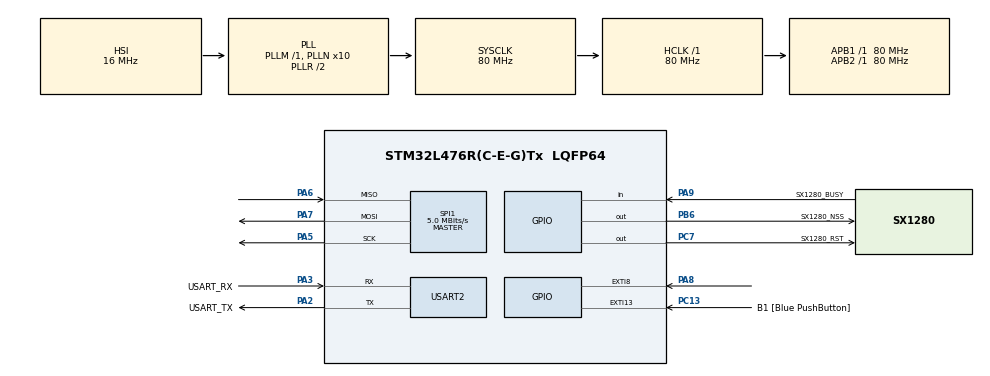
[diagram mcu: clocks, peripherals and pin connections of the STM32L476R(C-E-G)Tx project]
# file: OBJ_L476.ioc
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Mcu.Family=STM32L4
Mcu.Name=STM32L476R(C-E-G)Tx
Mcu.Package=LQFP64
NVIC.PriorityGroup=NVIC_PRIORITYGROUP_4
PA13\ (JTMS-SWDIO).GPIO_Label=TMS
PA13\ (JTMS-SWDIO).Mode=Serial_Wire
PA13\ (JTMS-SWDIO).Signal=SYS_JTMS-SWDIO
PA14\ (JTCK-SWCLK).GPIO_Label=TCK
PA14\ (JTCK-SWCLK).Mode=Serial_Wire
PA14\ (JTCK-SWCLK).Signal=SYS_JTCK-SWCLK
PA2.GPIO_Label=USART_TX
PA2.GPIO_Mode=GPIO_MODE_AF_PP
PA2.GPIO_PuPd=GPIO_NOPULL
PA2.GPIO_Speed=GPIO_SPEED_FREQ_VERY_HIGH
PA2.Mode=Asynchronous
PA2.Signal=USART2_TX
PA3.GPIO_Label=USART_RX
PA3.GPIO_Mode=GPIO_MODE_AF_PP
PA3.GPIO_PuPd=GPIO_NOPULL
PA3.GPIO_Speed=GPIO_SPEED_FREQ_VERY_HIGH
PA3.Mode=Asynchronous
PA3.Signal=USART2_RX
PA5.GPIO_PuPd=GPIO_PULLDOWN
PA5.Mode=Full_Duplex_Master
PA5.Signal=SPI1_SCK
PA6.GPIO_PuPd=GPIO_PULLDOWN
PA6.Mode=Full_Duplex_Master
PA6.Signal=SPI1_MISO
PA7.GPIO_PuPd=GPIO_PULLDOWN
PA7.Mode=Full_Duplex_Master
PA7.Signal=SPI1_MOSI
PA8.GPIO_PuPd=GPIO_PULLDOWN
PA8.Signal=GPXTI8
PA9.GPIO_Label=SX1280_BUSY
PA9.GPIO_PuPd=GPIO_PULLDOWN
PA9.Signal=GPIO_Input
PB3\ (JTDO-TRACESWO).GPIO_Label=SWO
PB3\ (JTDO-TRACESWO).Signal=SYS_JTDO-SWO
PB6.GPIO_Label=SX1280_NSS
PB6.GPIO_Speed=GPIO_SPEED_FREQ_VERY_HIGH
PB6.PinState=GPIO_PIN_SET
PB6.Signal=GPIO_Output
PC13.GPIO_Label=B1 [Blue PushButton]
PC13.GPIO_ModeDefaultEXTI=GPIO_MODE_IT_FALLING
PC13.GPIO_PuPd=GPIO_NOPULL
PC13.Signal=GPXTI13
PC14-OSC32_IN\ (PC14).Mode=LSE-External-Oscillator
PC14-OSC32_IN\ (PC14).Signal=RCC_OSC32_IN
PC15-OSC32_OUT\ (PC15).Mode=LSE-External-Oscillator
PC15-OSC32_OUT\ (PC15).Signal=RCC_OSC32_OUT
PC7.GPIO_Label=SX1280_RST
PC7.PinState=GPIO_PIN_SET
PC7.Signal=GPIO_Output
PH0-OSC_IN\ (PH0).Signal=RCC_OSC_IN
PH1-OSC_OUT\ (PH1).Signal=RCC_OSC_OUT
ProjectManager.HeapSize=0x200
ProjectManager.StackSize=0x400
ProjectManager.TargetToolchain=STM32CubeIDE
RCC.ADCFreq_Value=64000000
RCC.AHBFreq_Value=80000000
RCC.APB1Freq_Value=80000000
RCC.APB1TimFreq_Value=80000000
RCC.APB2Freq_Value=80000000
RCC.APB2TimFreq_Value=80000000
RCC.CortexFreq_Value=80000000
RCC.HCLKFreq_Value=80000000
RCC.HSE_VALUE=8000000
RCC.HSI_VALUE=16000000
RCC.MSI_VALUE=4000000
RCC.PLLN=10
RCC.PLLSourceVirtual=RCC_PLLSOURCE_HSI
RCC.PREFETCH_ENABLE=1
RCC.SYSCLKFreq_VALUE=80000000
RCC.SYSCLKSource=RCC_SYSCLKSOURCE_PLLCLK
RCC.USBFreq_Value=64000000
RCC.VCOOutputFreq_Value=160000000
SPI1.BaudRatePrescaler=SPI_BAUDRATEPRESCALER_16
SPI1.CalculateBaudRate=5.0 MBits/s
SPI1.DataSize=SPI_DATASIZE_8BIT
SPI1.Direction=SPI_DIRECTION_2LINES
SPI1.Mode=SPI_MODE_MASTER
SPI1.VirtualType=VM_MASTER
TIM1.Prescaler=79
USART2.VirtualMode-Asynchronous=VM_ASYNC
VP_TIM1_VS_ClockSourceINT.Mode=Internal
board=NUCLEO-L476RG

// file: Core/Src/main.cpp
/* USER CODE BEGIN Header */
/**
 ******************************************************************************
 * @file           : main.c
 * @brief          : Main program body
 ******************************************************************************
 * @attention
 *
 * Copyright (c) 2023 STMicroelectronics.
 * All rights reserved.
 *
 * This software is licensed under terms that can be found in the LICENSE file
 * in the root directory of this software component.
 * If no LICENSE file comes with this software, it is provided AS-IS.
 *
 ******************************************************************************
 */
/* USER CODE END Header */
#include "main.h"

/* USER CODE BEGIN Includes */
#include "stdio.h"
#include "SX128x_OBJ.h"
/* USER CODE END Includes */

SPI_HandleTypeDef hspi1;

TIM_HandleTypeDef htim1;

UART_HandleTypeDef huart2;

/* USER CODE BEGIN PV */
SX128x_OBJ sx1280;
/* USER CODE END PV */

void SystemClock_Config(void);
static void MX_GPIO_Init(void);
static void MX_USART2_UART_Init(void);
static void MX_SPI1_Init(void);
static void MX_TIM1_Init(void);

int main(void)
{

    /* MCU Configuration--------------------------------------------------------*/

    /* Reset of all peripherals, Initializes the Flash interface and the Systick. */
    HAL_Init();

    /* Configure the system clock */
    SystemClock_Config();

    /* Initialize all configured peripherals */
    MX_GPIO_Init();
    MX_USART2_UART_Init();
    MX_SPI1_Init();
    MX_TIM1_Init();
    /* USER CODE BEGIN 2 */

    // for print
    char uart_buf[100];
    int uart_buf_len;
    // for receive
    uint8_t rx_buffer[8];
    uint8_t rx_length;
    int received;
    // for status
    uint8_t re;

    // print
    uart_buf_len = sprintf(uart_buf, "SX1280 RX bit rate test\r\n");
    HAL_UART_Transmit(&huart2, (uint8_t *)uart_buf, uart_buf_len, 100);

    // initialize and transceive setting
    re = sx1280.Init();
    if (re == 0)
    {
        uart_buf_len = sprintf(uart_buf, "SX1280 Initialize success\r\n");
        HAL_UART_Transmit(&huart2, (uint8_t *)uart_buf, uart_buf_len, 100);
    }
    else
    {
        uart_buf_len = sprintf(uart_buf, "SX1280 Initialize fail\r\n");
        HAL_UART_Transmit(&huart2, (uint8_t *)uart_buf, uart_buf_len, 100);
        while (1)
            ;
    }

    // Rx setting
    sx1280.RxSetting();

    // receive
    rx_length = sx1280.RxBlocking(rx_buffer, 8);

    /* USER CODE END 2 */

    /* Infinite loop */
    /* USER CODE BEGIN WHILE */
    int time_temp = HAL_GetTick();
    uint8_t received_arr[100] = {0};
    int pre_get = 0;
    uint8_t sum;
    float bps;
    while (1)
    {
        // receive
        rx_length = sx1280.RxBlocking(rx_buffer, 8);
        received = rx_buffer[0] + (rx_buffer[1] << 8);

        // print
        uart_buf_len = sprintf(uart_buf, "RX: %d %d\r\n", *(rx_buffer), *(rx_buffer + 1));
        HAL_UART_Transmit(&huart2, (uint8_t *)uart_buf, uart_buf_len, 100);
        /* USER CODE END WHILE */

        /* USER CODE BEGIN 3 */
        if (received < 100 && received >= 0) // valid
        {
            if (pre_get > received)
            {
                time_temp = HAL_GetTick() - time_temp;
                sum = 0;
                for (int i = 0; i < 100; i++)
                {
                    if (received_arr[i] == 1)
                    {
                        sum++;
                    }
                }
                bps = sum * 8 * 8 * 1000. / time_temp;
                uart_buf_len = sprintf(uart_buf, "Bit Rate: %15.5f bps, sum: %03d\r\n", bps, sum);
                HAL_UART_Transmit(&huart2, (uint8_t *)uart_buf, uart_buf_len, 100);

                // end
                for (int i = 0; i < 100; i++)
                {
                    received_arr[i] = 0;
                }
                time_temp = HAL_GetTick();
            }
            pre_get = received;
            received_arr[received] = 1;
        }
    }
    /* USER CODE END 3 */
}

void SystemClock_Config(void)
{
    RCC_OscInitTypeDef RCC_OscInitStruct = {0};
    RCC_ClkInitTypeDef RCC_ClkInitStruct = {0};

    /** Configure the main internal regulator output voltage
     */
    if (HAL_PWREx_ControlVoltageScaling(PWR_REGULATOR_VOLTAGE_SCALE1) != HAL_OK)
    {
        Error_Handler();
    }

    /** Initializes the RCC Oscillators according to the specified parameters
     * in the RCC_OscInitTypeDef structure.
     */
    RCC_OscInitStruct.OscillatorType = RCC_OSCILLATORTYPE_HSI;
    RCC_OscInitStruct.HSIState = RCC_HSI_ON;
    RCC_OscInitStruct.HSICalibrationValue = RCC_HSICALIBRATION_DEFAULT;
    RCC_OscInitStruct.PLL.PLLState = RCC_PLL_ON;
    RCC_OscInitStruct.PLL.PLLSource = RCC_PLLSOURCE_HSI;
    RCC_OscInitStruct.PLL.PLLM = 1;
    RCC_OscInitStruct.PLL.PLLN = 10;
    RCC_OscInitStruct.PLL.PLLP = RCC_PLLP_DIV7;
    RCC_OscInitStruct.PLL.PLLQ = RCC_PLLQ_DIV2;
    RCC_OscInitStruct.PLL.PLLR = RCC_PLLR_DIV2;
    if (HAL_RCC_OscConfig(&RCC_OscInitStruct) != HAL_OK)
    {
        Error_Handler();
    }

    /** Initializes the CPU, AHB and APB buses clocks
     */
    RCC_ClkInitStruct.ClockType = RCC_CLOCKTYPE_HCLK | RCC_CLOCKTYPE_SYSCLK | RCC_CLOCKTYPE_PCLK1 | RCC_CLOCKTYPE_PCLK2;
    RCC_ClkInitStruct.SYSCLKSource = RCC_SYSCLKSOURCE_PLLCLK;
    RCC_ClkInitStruct.AHBCLKDivider = RCC_SYSCLK_DIV1;
    RCC_ClkInitStruct.APB1CLKDivider = RCC_HCLK_DIV1;
    RCC_ClkInitStruct.APB2CLKDivider = RCC_HCLK_DIV1;

    if (HAL_RCC_ClockConfig(&RCC_ClkInitStruct, FLASH_LATENCY_4) != HAL_OK)
    {
        Error_Handler();
    }
}

static void MX_SPI1_Init(void)
{

    /* SPI1 parameter configuration*/
    hspi1.Instance = SPI1;
    hspi1.Init.Mode = SPI_MODE_MASTER;
    hspi1.Init.Direction = SPI_DIRECTION_2LINES;
    hspi1.Init.DataSize = SPI_DATASIZE_8BIT;
    hspi1.Init.CLKPolarity = SPI_POLARITY_LOW;
    hspi1.Init.CLKPhase = SPI_PHASE_1EDGE;
    hspi1.Init.NSS = SPI_NSS_SOFT;
    hspi1.Init.BaudRatePrescaler = SPI_BAUDRATEPRESCALER_16;
    hspi1.Init.FirstBit = SPI_FIRSTBIT_MSB;
    hspi1.Init.TIMode = SPI_TIMODE_DISABLE;
    hspi1.Init.CRCCalculation = SPI_CRCCALCULATION_DISABLE;
    hspi1.Init.CRCPolynomial = 7;
    hspi1.Init.CRCLength = SPI_CRC_LENGTH_DATASIZE;
    hspi1.Init.NSSPMode = SPI_NSS_PULSE_ENABLE;
    if (HAL_SPI_Init(&hspi1) != HAL_OK)
    {
        Error_Handler();
    }
}

static void MX_TIM1_Init(void)
{

    TIM_ClockConfigTypeDef sClockSourceConfig = {0};
    TIM_MasterConfigTypeDef sMasterConfig = {0};

    htim1.Instance = TIM1;
    htim1.Init.Prescaler = 79;
    htim1.Init.CounterMode = TIM_COUNTERMODE_UP;
    htim1.Init.Period = 65535;
    htim1.Init.ClockDivision = TIM_CLOCKDIVISION_DIV1;
    htim1.Init.RepetitionCounter = 0;
    htim1.Init.AutoReloadPreload = TIM_AUTORELOAD_PRELOAD_DISABLE;
    if (HAL_TIM_Base_Init(&htim1) != HAL_OK)
    {
        Error_Handler();
    }
    sClockSourceConfig.ClockSource = TIM_CLOCKSOURCE_INTERNAL;
    if (HAL_TIM_ConfigClockSource(&htim1, &sClockSourceConfig) != HAL_OK)
    {
        Error_Handler();
    }
    sMasterConfig.MasterOutputTrigger = TIM_TRGO_RESET;
    sMasterConfig.MasterOutputTrigger2 = TIM_TRGO2_RESET;
    sMasterConfig.MasterSlaveMode = TIM_MASTERSLAVEMODE_DISABLE;
    if (HAL_TIMEx_MasterConfigSynchronization(&htim1, &sMasterConfig) != HAL_OK)
    {
        Error_Handler();
    }
}

static void MX_USART2_UART_Init(void)
{

    huart2.Instance = USART2;
    huart2.Init.BaudRate = 115200;
    huart2.Init.WordLength = UART_WORDLENGTH_8B;
    huart2.Init.StopBits = UART_STOPBITS_1;
    huart2.Init.Parity = UART_PARITY_NONE;
    huart2.Init.Mode = UART_MODE_TX_RX;
    huart2.Init.HwFlowCtl = UART_HWCONTROL_NONE;
    huart2.Init.OverSampling = UART_OVERSAMPLING_16;
    huart2.Init.OneBitSampling = UART_ONE_BIT_SAMPLE_DISABLE;
    huart2.AdvancedInit.AdvFeatureInit = UART_ADVFEATURE_NO_INIT;
    if (HAL_UART_Init(&huart2) != HAL_OK)
    {
        Error_Handler();
    }
}

static void MX_GPIO_Init(void)
{
    GPIO_InitTypeDef GPIO_InitStruct = {0};

    /* GPIO Ports Clock Enable */
    __HAL_RCC_GPIOC_CLK_ENABLE();
    __HAL_RCC_GPIOH_CLK_ENABLE();
    __HAL_RCC_GPIOA_CLK_ENABLE();
    __HAL_RCC_GPIOB_CLK_ENABLE();

    /*Configure GPIO pin Output Level */
    HAL_GPIO_WritePin(SX1280_RST_GPIO_Port, SX1280_RST_Pin, GPIO_PIN_SET);

    /*Configure GPIO pin Output Level */
    HAL_GPIO_WritePin(SX1280_NSS_GPIO_Port, SX1280_NSS_Pin, GPIO_PIN_SET);

    /*Configure GPIO pin : B1_Pin */
    GPIO_InitStruct.Pin = B1_Pin;
    GPIO_InitStruct.Mode = GPIO_MODE_IT_FALLING;
    GPIO_InitStruct.Pull = GPIO_NOPULL;
    HAL_GPIO_Init(B1_GPIO_Port, &GPIO_InitStruct);

    /*Configure GPIO pin : SX1280_RST_Pin */
    GPIO_InitStruct.Pin = SX1280_RST_Pin;
    GPIO_InitStruct.Mode = GPIO_MODE_OUTPUT_PP;
    GPIO_InitStruct.Pull = GPIO_NOPULL;
    GPIO_InitStruct.Speed = GPIO_SPEED_FREQ_LOW;
    HAL_GPIO_Init(SX1280_RST_GPIO_Port, &GPIO_InitStruct);

    /*Configure GPIO pin : PA8 */
    GPIO_InitStruct.Pin = GPIO_PIN_8;
    GPIO_InitStruct.Mode = GPIO_MODE_IT_RISING;
    GPIO_InitStruct.Pull = GPIO_PULLDOWN;
    HAL_GPIO_Init(GPIOA, &GPIO_InitStruct);

    /*Configure GPIO pin : SX1280_BUSY_Pin */
    GPIO_InitStruct.Pin = SX1280_BUSY_Pin;
    GPIO_InitStruct.Mode = GPIO_MODE_INPUT;
    GPIO_InitStruct.Pull = GPIO_PULLDOWN;
    HAL_GPIO_Init(SX1280_BUSY_GPIO_Port, &GPIO_InitStruct);

    /*Configure GPIO pin : SX1280_NSS_Pin */
    GPIO_InitStruct.Pin = SX1280_NSS_Pin;
    GPIO_InitStruct.Mode = GPIO_MODE_OUTPUT_PP;
    GPIO_InitStruct.Pull = GPIO_NOPULL;
    GPIO_InitStruct.Speed = GPIO_SPEED_FREQ_VERY_HIGH;
    HAL_GPIO_Init(SX1280_NSS_GPIO_Port, &GPIO_InitStruct);

}

void Error_Handler(void)
{
    __disable_irq();
    while (1)
    {
    }
}
